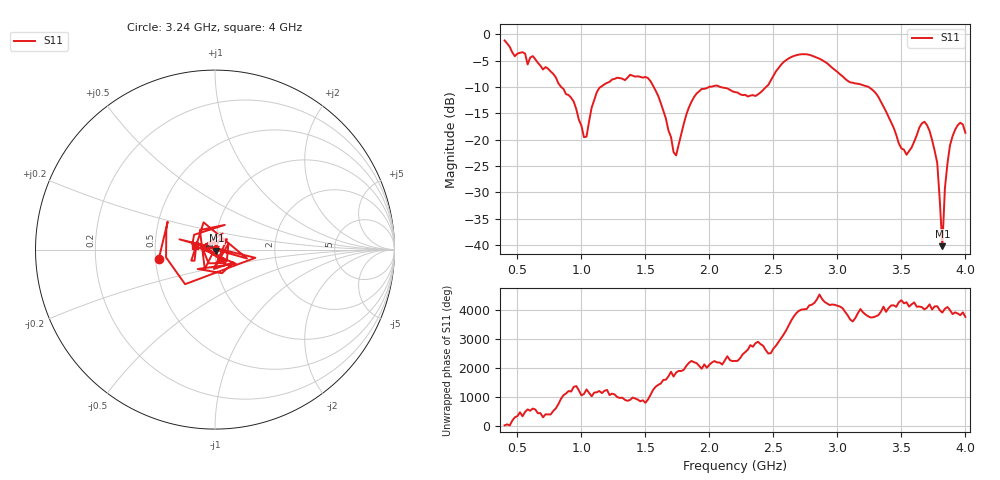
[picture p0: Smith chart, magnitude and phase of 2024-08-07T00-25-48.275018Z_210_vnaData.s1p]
!Created with skrf (http://scikit-rf.org).
# Hz S RI R 50.0
!freq ReS11 ImS11
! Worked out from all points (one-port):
!   181 points, 400 MHz to 4 GHz, reference 50 ohm
!   lowest |S11| = -40.2 dB at 3.82 GHz (marker M1), VSWR 1.02, Z = 50.7 - j0.649 ohm
!   |S11| at or under -10 dB: 1.565 GHz to 1.997 GHz (432 MHz wide, 24.3 % of centre); 2.086 GHz to 2.442 GHz (356.1 MHz wide, 15.7 % of centre); 3.244 GHz to end of sweep (the widest 3 of 4)
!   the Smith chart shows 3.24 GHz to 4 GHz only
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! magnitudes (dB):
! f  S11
! 400 MHz  -1.2
! 860 MHz  -10.4
! 940 MHz  -12.8
! 1.02 GHz  -19.5
! 1.14 GHz  -10.2
! 1.3 GHz  -8.3
! 1.52 GHz  -8.3
! 1.62 GHz  -13.0
! 1.72 GHz  -22.4
! 1.76 GHz  -20.9
! 1.82 GHz  -15.2
! 1.9 GHz  -11.2
! 2.2 GHz  -11.0
! 2.36 GHz  -11.7
! 2.66 GHz  -4.1
! 2.86 GHz  -4.6
! 3.1 GHz  -9.1
! 3.3 GHz  -11.2
! 3.5 GHz  -21.7
! 3.56 GHz  -22.2
! 3.66 GHz  -16.9
! 3.72 GHz  -18.3
! 3.78 GHz  -24.4
! 3.82 GHz  -40.2
! 3.84 GHz  -29.2
! 3.88 GHz  -21.0
! 3.96 GHz  -16.8
! 4 GHz  -18.7
